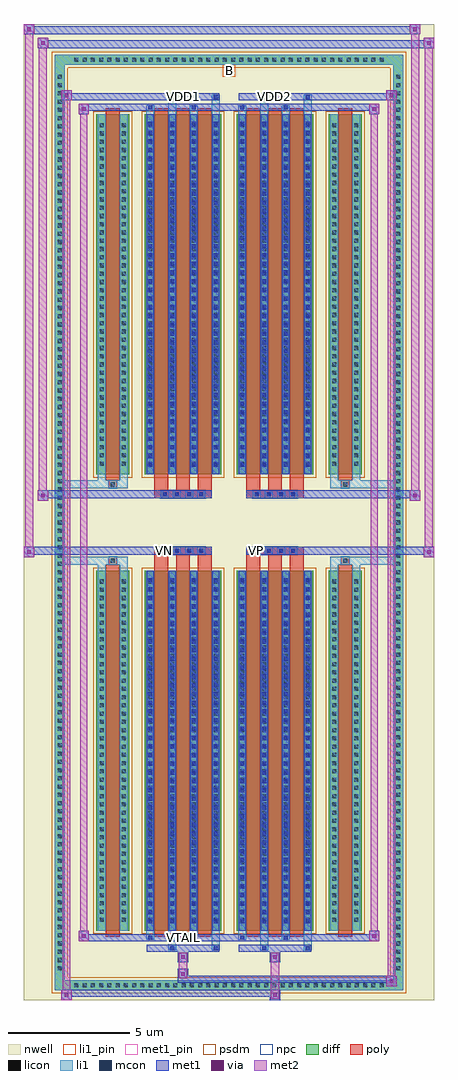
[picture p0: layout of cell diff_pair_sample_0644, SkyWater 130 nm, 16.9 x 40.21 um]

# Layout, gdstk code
import gdstk
lib = gdstk.Library(unit=1e-6, precision=5e-09)
def R(c, l, rs):  # rectangles x0, y0, x1, y1
    for r in rs: c.add(gdstk.rectangle(r[:2], r[2:], *l))
def A(c, l, x, y, w, h, nx, ny, dx, dy):  # array of equal rectangles
    R(c, l, [(x+i*dx, y+j*dy, x+i*dx+w, y+j*dy+h) for i in range(nx) for j in range(ny)])
def P(c, l, *ps):  # polygons
    for p in ps: c.add(gdstk.Polygon(p, *l))
nwell = (64, 20)
diff = (65, 20)
poly = (66, 20)
licon = (66, 44)
li1_pin = (67, 16)
li1 = (67, 20)
mcon = (67, 44)
met1_pin = (68, 16)
met1 = (68, 20)
via = (68, 44)
met2 = (69, 20)
psdm = (94, 20)
npc = (95, 20)

diff_pair_sample_0644 = lib.new_cell('diff_pair_sample_0644')
R(diff_pair_sample_0644, nwell, [(-8.45,-19.67,8.45,20.54), (-5.77,-17.86,-0.01,-0.8), (0.01,-17.86,5.77,-0.8), (-5.77,0.8,-0.01,17.86), (0.01,0.8,5.77,17.86)])
A(diff_pair_sample_0644, diff, -6.495, -19.27, 0.41, 0.41, 38, 2, 0.34, 38.13)
A(diff_pair_sample_0644, diff, -7.18, -18.565, 0.41, 0.41, 1, 109, 0, 0.34)
A(diff_pair_sample_0644, diff, 6.77, -18.565, 0.41, 0.41, 1, 109, 0, 0.34)
R(diff_pair_sample_0644, diff, [(-6.495,-19.27,6.495,-18.86), (-7.18,-18.565,-6.77,18.565), (6.77,-18.565,7.18,18.565), (-5.46,-16.815,-4.11,-1.985), (-3.47,-16.815,-0.32,-1.985), (0.32,-16.815,3.47,-1.985), (4.11,-16.815,5.46,-1.985), (-5.46,1.985,-4.11,16.815), (-3.47,1.985,-0.32,16.815), (0.32,1.985,3.47,16.815), (4.11,1.985,5.46,16.815), (-6.495,18.86,6.495,19.27)])
P(diff_pair_sample_0644, diff, [(7.18,19.27),(-7.18,19.27),(-7.18,-18.86),(-6.77,-18.86),(-6.77,18.86),(6.77,18.86),(6.77,-18.86),(-6.77,-18.86),(-7.18,-18.86),(-7.18,-19.27),(7.18,-19.27)])
A(diff_pair_sample_0644, poly, -3.08, -17.065, 0.57, 15.33, 3, 2, 0.9, 18.8)
A(diff_pair_sample_0644, poly, 0.71, -17.065, 0.57, 15.33, 3, 2, 0.9, 18.8)
A(diff_pair_sample_0644, poly, -3.08, -1.735, 0.57, 0.405, 3, 2, 0.9, 3.065)
A(diff_pair_sample_0644, poly, 0.71, -1.735, 0.57, 0.405, 3, 2, 0.9, 3.065)
A(diff_pair_sample_0644, poly, -2.81, -1.33, 0.33, 0.33, 4, 2, 0.5, 2.33)
A(diff_pair_sample_0644, poly, 0.98, -1.33, 0.33, 0.33, 4, 2, 0.5, 2.33)
R(diff_pair_sample_0644, poly, [(-5.07,-17.065,-4.5,-1.735), (4.5,-17.065,5.07,-1.735), (-4.95,-1.735,-4.62,-1.405), (-4.95,-1.735,-4.62,-1.405), (4.62,-1.735,4.95,-1.405), (4.62,-1.735,4.95,-1.405), (-3.08,-1.33,-0.71,-1), (0.71,-1.33,3.08,-1), (-3.08,1,-0.71,1.33), (0.71,1,3.08,1.33), (-4.95,1.405,-4.62,1.735), (-4.95,1.405,-4.62,1.735), (4.62,1.405,4.95,1.735), (4.62,1.405,4.95,1.735), (-5.07,1.735,-4.5,17.065), (4.5,1.735,5.07,17.065)])
A(diff_pair_sample_0644, licon, -6.375, -19.15, 0.17, 0.17, 38, 2, 0.34, 38.13)
A(diff_pair_sample_0644, licon, -7.06, -18.445, 0.17, 0.17, 1, 109, 0, 0.34)
A(diff_pair_sample_0644, licon, 6.89, -18.445, 0.17, 0.17, 1, 109, 0, 0.34)
A(diff_pair_sample_0644, licon, -5.32, -16.455, 0.17, 0.17, 1, 42, 0, 0.34)
A(diff_pair_sample_0644, licon, -4.42, -16.455, 0.17, 0.17, 1, 42, 0, 0.34)
A(diff_pair_sample_0644, licon, -3.33, -16.455, 0.17, 0.17, 4, 42, 0.9, 0.34)
A(diff_pair_sample_0644, licon, 0.46, -16.455, 0.17, 0.17, 4, 42, 0.9, 0.34)
A(diff_pair_sample_0644, licon, 4.25, -16.455, 0.17, 0.17, 1, 42, 0, 0.34)
A(diff_pair_sample_0644, licon, 5.15, -16.455, 0.17, 0.17, 1, 42, 0, 0.34)
A(diff_pair_sample_0644, licon, -2.73, -1.25, 0.17, 0.17, 4, 2, 0.5, 2.33)
A(diff_pair_sample_0644, licon, 1.06, -1.25, 0.17, 0.17, 4, 2, 0.5, 2.33)
A(diff_pair_sample_0644, licon, -5.32, 2.345, 0.17, 0.17, 1, 42, 0, 0.34)
A(diff_pair_sample_0644, licon, -4.42, 2.345, 0.17, 0.17, 1, 42, 0, 0.34)
A(diff_pair_sample_0644, licon, -3.33, 2.345, 0.17, 0.17, 4, 42, 0.9, 0.34)
A(diff_pair_sample_0644, licon, 0.46, 2.345, 0.17, 0.17, 4, 42, 0.9, 0.34)
A(diff_pair_sample_0644, licon, 4.25, 2.345, 0.17, 0.17, 1, 42, 0, 0.34)
A(diff_pair_sample_0644, licon, 5.15, 2.345, 0.17, 0.17, 1, 42, 0, 0.34)
R(diff_pair_sample_0644, licon, [(-4.87,-1.655,-4.7,-1.485), (4.7,-1.655,4.87,-1.485), (-4.87,1.485,-4.7,1.655), (4.7,1.485,4.87,1.655)])
R(diff_pair_sample_0644, li1_pin, [(-0.25,18.36,0.25,18.86)])
A(diff_pair_sample_0644, li1, -6.455, -19.23, 0.33, 0.33, 38, 2, 0.34, 38.13)
A(diff_pair_sample_0644, li1, -7.14, -18.525, 0.33, 0.33, 1, 109, 0, 0.34)
A(diff_pair_sample_0644, li1, 6.81, -18.525, 0.33, 0.33, 1, 109, 0, 0.34)
A(diff_pair_sample_0644, li1, -3.41, -16.815, 0.33, 14.83, 4, 2, 0.9, 18.8)
A(diff_pair_sample_0644, li1, 0.38, -16.815, 0.33, 14.83, 4, 2, 0.9, 18.8)
A(diff_pair_sample_0644, li1, -5.4, -16.535, 0.33, 0.33, 1, 42, 0, 0.34)
A(diff_pair_sample_0644, li1, -4.5, -16.535, 0.33, 0.33, 1, 42, 0, 0.34)
A(diff_pair_sample_0644, li1, -3.41, -16.535, 0.33, 0.33, 4, 42, 0.9, 0.34)
A(diff_pair_sample_0644, li1, 0.38, -16.535, 0.33, 0.33, 4, 42, 0.9, 0.34)
A(diff_pair_sample_0644, li1, 4.17, -16.535, 0.33, 0.33, 1, 42, 0, 0.34)
A(diff_pair_sample_0644, li1, 5.07, -16.535, 0.33, 0.33, 1, 42, 0, 0.34)
A(diff_pair_sample_0644, li1, -3.33, -16.505, 0.17, 0.17, 4, 40, 0.9, 0.36)
A(diff_pair_sample_0644, li1, -3.33, -16.505, 0.17, 14.21, 4, 2, 0.9, 18.8)
A(diff_pair_sample_0644, li1, 0.46, -16.505, 0.17, 0.17, 4, 40, 0.9, 0.36)
A(diff_pair_sample_0644, li1, 0.46, -16.505, 0.17, 14.21, 4, 2, 0.9, 18.8)
A(diff_pair_sample_0644, li1, -2.81, -1.33, 0.33, 0.33, 4, 2, 0.5, 2.33)
A(diff_pair_sample_0644, li1, 0.98, -1.33, 0.33, 0.33, 4, 2, 0.5, 2.33)
A(diff_pair_sample_0644, li1, -5.4, 2.265, 0.33, 0.33, 1, 42, 0, 0.34)
A(diff_pair_sample_0644, li1, -4.5, 2.265, 0.33, 0.33, 1, 42, 0, 0.34)
A(diff_pair_sample_0644, li1, -3.41, 2.265, 0.33, 0.33, 4, 42, 0.9, 0.34)
A(diff_pair_sample_0644, li1, 0.38, 2.265, 0.33, 0.33, 4, 42, 0.9, 0.34)
A(diff_pair_sample_0644, li1, 4.17, 2.265, 0.33, 0.33, 1, 42, 0, 0.34)
A(diff_pair_sample_0644, li1, 5.07, 2.265, 0.33, 0.33, 1, 42, 0, 0.34)
A(diff_pair_sample_0644, li1, -3.33, 2.295, 0.17, 0.17, 4, 40, 0.9, 0.36)
A(diff_pair_sample_0644, li1, 0.46, 2.295, 0.17, 0.17, 4, 40, 0.9, 0.36)
R(diff_pair_sample_0644, li1, [(-7.18,-19.27,-6.77,-18.86), (-7.18,-19.27,-6.77,-18.86), (-6.77,-19.27,6.77,-18.86), (6.77,-19.27,7.18,-18.86), (6.77,-19.27,7.18,-18.86), (-7.18,-18.86,-6.77,18.86), (6.77,-18.86,7.18,18.86), (-2.51,-17.62,-2.18,-16.815), (-2.43,-17.62,-2.26,-17.45), (-0.71,-17.62,-0.38,-16.815), (-0.63,-17.62,-0.46,-17.45), (1.28,-17.62,1.61,-16.815), (1.36,-17.62,1.53,-17.45), (3.08,-17.62,3.41,-16.815), (3.16,-17.62,3.33,-17.45), (-3.41,-17.19,-3.08,-16.815), (-3.33,-17.19,-3.16,-17.02), (-1.61,-17.19,-1.28,-16.815), (-1.53,-17.19,-1.36,-17.02), (0.38,-17.19,0.71,-16.815), (0.46,-17.19,0.63,-17.02), (2.18,-17.19,2.51,-16.815), (2.26,-17.19,2.43,-17.02), (-5.4,-16.815,-5.07,-1.985), (-4.5,-16.815,-4.17,-1.985), (4.17,-16.815,4.5,-1.985), (5.07,-16.815,5.4,-1.985), (-5.4,-1.985,-5.07,-1.405), (-4.5,-1.985,-4.17,-1.405), (4.17,-1.985,4.5,-1.405), (5.07,-1.985,5.4,-1.405), (-7.18,-1.735,-4.95,-1.405), (-5.4,-1.735,-4.95,-1.405), (-4.95,-1.735,-4.62,-1.405), (-4.62,-1.735,-4.17,-1.405), (4.17,-1.735,4.62,-1.405), (4.62,-1.735,4.95,-1.405), (4.62,-1.735,7.18,-1.405), (4.95,-1.735,5.4,-1.405), (-7.18,1.405,-4.95,1.735), (-5.4,1.405,-4.95,1.735), (-5.4,1.405,-5.07,1.985), (-4.95,1.405,-4.62,1.735), (-4.62,1.405,-4.17,1.735), (-4.5,1.405,-4.17,1.985), (4.17,1.405,4.62,1.735), (4.17,1.405,4.5,1.985), (4.62,1.405,4.95,1.735), (4.62,1.405,7.18,1.735), (4.95,1.405,5.4,1.735), (5.07,1.405,5.4,1.985), (-5.4,1.985,-5.07,16.815), (-4.5,1.985,-4.17,16.815), (4.17,1.985,4.5,16.815), (5.07,1.985,5.4,16.815), (-3.41,16.815,-3.08,17.19), (-2.51,16.815,-2.18,17.62), (-1.61,16.815,-1.28,17.19), (-0.71,16.815,-0.38,17.62), (0.38,16.815,0.71,17.19), (1.28,16.815,1.61,17.62), (2.18,16.815,2.51,17.19), (3.08,16.815,3.41,17.62), (-3.33,17.02,-3.16,17.19), (-1.53,17.02,-1.36,17.19), (0.46,17.02,0.63,17.19), (2.26,17.02,2.43,17.19), (-2.43,17.45,-2.26,17.62), (-0.63,17.45,-0.46,17.62), (1.36,17.45,1.53,17.62), (3.16,17.45,3.33,17.62), (-7.18,18.86,-6.77,19.27), (-7.18,18.86,-6.77,19.27), (-6.77,18.86,6.77,19.27), (6.77,18.86,7.18,19.27), (6.77,18.86,7.18,19.27)])
A(diff_pair_sample_0644, mcon, -3.33, -16.505, 0.17, 0.17, 4, 40, 0.9, 0.36)
A(diff_pair_sample_0644, mcon, 0.46, -16.505, 0.17, 0.17, 4, 40, 0.9, 0.36)
A(diff_pair_sample_0644, mcon, -2.73, -1.25, 0.17, 0.17, 4, 2, 0.5, 2.33)
A(diff_pair_sample_0644, mcon, 1.06, -1.25, 0.17, 0.17, 4, 2, 0.5, 2.33)
A(diff_pair_sample_0644, mcon, -3.33, 2.295, 0.17, 0.17, 4, 40, 0.9, 0.36)
A(diff_pair_sample_0644, mcon, 0.46, 2.295, 0.17, 0.17, 4, 40, 0.9, 0.36)
R(diff_pair_sample_0644, mcon, [(-2.43,-17.62,-2.26,-17.45), (-0.63,-17.62,-0.46,-17.45), (1.36,-17.62,1.53,-17.45), (3.16,-17.62,3.33,-17.45), (-3.33,-17.19,-3.16,-17.02), (-1.53,-17.19,-1.36,-17.02), (0.46,-17.19,0.63,-17.02), (2.26,-17.19,2.43,-17.02), (-3.33,17.02,-3.16,17.19), (-1.53,17.02,-1.36,17.19), (0.46,17.02,0.63,17.19), (2.26,17.02,2.43,17.19), (-2.43,17.45,-2.26,17.62), (-0.63,17.45,-0.46,17.62), (1.36,17.45,1.53,17.62), (3.16,17.45,3.33,17.62)])
R(diff_pair_sample_0644, met1_pin, [(-2.03,-17.23,-1.76,-16.96), (-2.78,-1.29,-2.51,-1.02), (1.01,-1.29,1.28,-1.02), (-2.03,17.41,-1.76,17.68), (1.76,17.41,2.03,17.68)])
A(diff_pair_sample_0644, met1, -3.39, -16.815, 0.29, 14.83, 4, 2, 0.9, 18.8)
A(diff_pair_sample_0644, met1, 0.4, -16.815, 0.29, 14.83, 4, 2, 0.9, 18.8)
A(diff_pair_sample_0644, met1, -3.39, -16.565, 0.29, 0.29, 4, 40, 0.9, 0.36)
A(diff_pair_sample_0644, met1, 0.4, -16.565, 0.29, 0.29, 4, 40, 0.9, 0.36)
A(diff_pair_sample_0644, met1, -2.79, -1.31, 0.29, 0.29, 4, 2, 0.5, 2.33)
A(diff_pair_sample_0644, met1, 1, -1.31, 0.29, 0.29, 4, 2, 0.5, 2.33)
A(diff_pair_sample_0644, met1, -3.39, 2.235, 0.29, 0.29, 4, 40, 0.9, 0.36)
A(diff_pair_sample_0644, met1, 0.4, 2.235, 0.29, 0.29, 4, 40, 0.9, 0.36)
R(diff_pair_sample_0644, met1, [(-6.91,-19.67,-6.48,-19.24), (1.68,-19.67,2.11,-19.24), (-6.91,-19.53,2.11,-19.24), (6.48,-19.1,6.91,-18.67), (-2.11,-18.96,6.91,-18.67), (-2.11,-18.82,-1.68,-18.39), (-2.11,-18.11,-1.68,-17.68), (1.68,-18.11,2.11,-17.68), (-3.39,-17.68,-0.4,-17.39), (-2.49,-17.68,-2.2,-17.39), (-0.69,-17.68,-0.4,-17.39), (0.4,-17.68,3.39,-17.39), (1.3,-17.68,1.59,-17.39), (3.1,-17.68,3.39,-17.39), (-6.2,-17.25,-5.77,-16.82), (-6.2,-17.25,-3.39,-16.96), (-3.39,-17.25,-3.1,-16.96), (-3.39,-17.25,-0.4,-16.96), (-1.59,-17.25,-1.3,-16.96), (-0.4,-17.25,0.4,-16.96), (0.4,-17.25,0.69,-16.96), (0.4,-17.25,3.39,-16.96), (2.2,-17.25,2.49,-16.96), (3.39,-17.25,6.2,-16.96), (5.77,-17.25,6.2,-16.82), (-8.45,-1.43,-8.02,-1), (8.02,-1.43,8.45,-1), (-8.45,-1.33,-0.71,-1), (-3.08,-1.33,-0.71,-1), (0.71,-1.33,3.08,-1), (0.71,-1.33,8.45,-1), (-7.88,0.9,-7.45,1.33), (7.45,0.9,7.88,1.33), (-7.88,1,-3.08,1.33), (-3.08,1,-0.71,1.33), (0.71,1,3.08,1.33), (3.08,1,7.88,1.33), (-6.2,16.82,-5.77,17.25), (5.77,16.82,6.2,17.25), (-6.2,16.96,-3.39,17.25), (-3.39,16.96,-3.1,17.25), (-3.39,16.96,-0.4,17.25), (-1.59,16.96,-1.3,17.25), (-0.4,16.96,0.4,17.25), (0.4,16.96,0.69,17.25), (0.4,16.96,3.39,17.25), (2.2,16.96,2.49,17.25), (3.39,16.96,6.2,17.25), (-6.91,17.39,-6.48,17.82), (-6.91,17.39,-3.39,17.68), (-3.39,17.39,-0.4,17.68), (-2.49,17.39,-2.2,17.68), (-0.69,17.39,-0.4,17.68), (0.4,17.39,3.39,17.68), (1.3,17.39,1.59,17.68), (3.1,17.39,3.39,17.68), (3.39,17.39,6.91,17.68), (6.48,17.39,6.91,17.82), (-7.88,19.54,-7.45,19.97), (-7.88,19.54,-5.77,19.87), (-5.77,19.54,5.77,19.87), (5.77,19.54,8.45,19.87), (8.02,19.54,8.45,19.97), (-8.45,20.11,-8.02,20.54), (-8.45,20.11,-5.77,20.44), (-5.77,20.11,5.77,20.44), (5.77,20.11,7.88,20.44), (7.45,20.11,7.88,20.54)])
R(diff_pair_sample_0644, via, [(-6.77,-19.53,-6.62,-19.38), (1.82,-19.53,1.97,-19.38), (6.62,-18.96,6.77,-18.81), (-1.97,-18.68,-1.82,-18.53), (-1.97,-17.97,-1.82,-17.82), (1.82,-17.97,1.97,-17.82), (-6.06,-17.11,-5.91,-16.96), (5.91,-17.11,6.06,-16.96), (-8.31,-1.29,-8.16,-1.14), (8.16,-1.29,8.31,-1.14), (-7.74,1.04,-7.59,1.19), (7.59,1.04,7.74,1.19), (-6.06,16.96,-5.91,17.11), (5.91,16.96,6.06,17.11), (-6.77,17.53,-6.62,17.68), (6.62,17.53,6.77,17.68), (-7.74,19.68,-7.59,19.83), (8.16,19.68,8.31,19.83), (-8.31,20.25,-8.16,20.4), (7.59,20.25,7.74,20.4)])
R(diff_pair_sample_0644, met2, [(-6.91,-19.67,-6.48,-19.24), (-6.84,-19.67,-6.55,17.82), (-6.55,-19.67,-6.48,-19.24), (-6.86,-19.62,-6.53,-19.29), (1.73,-19.62,2.06,-19.29), (1.73,-19.29,2.06,-18.06), (6.48,-19.1,6.91,-18.67), (6.55,-19.1,6.84,17.82), (6.84,-19.1,6.91,-18.67), (6.53,-19.05,6.86,-18.72), (-2.06,-18.77,-1.73,-18.44), (-2.06,-18.44,-1.73,-18.06), (-2.06,-18.06,-1.73,-17.73), (1.73,-18.06,2.06,-17.73), (-6.2,-17.25,-5.77,-16.82), (-6.13,-17.25,-5.84,17.25), (-5.84,-17.25,-5.77,-16.82), (5.77,-17.25,6.2,-16.82), (5.84,-17.25,6.13,17.25), (6.13,-17.25,6.2,-16.82), (-6.15,-17.2,-5.82,-16.87), (5.82,-17.2,6.15,-16.87), (-8.45,-1.43,-8.02,-1), (-8.4,-1.43,-8.07,20.54), (-8.07,-1.43,-8.02,-1), (8.02,-1.43,8.45,-1), (8.07,-1.43,8.4,19.97), (8.4,-1.43,8.45,-1), (-8.4,-1.38,-8.07,-1.05), (8.07,-1.38,8.4,-1.05), (-7.88,0.9,-7.45,1.33), (-7.83,0.9,-7.5,19.97), (-7.5,0.9,-7.45,1.33), (7.45,0.9,7.88,1.33), (7.5,0.9,7.83,20.54), (7.83,0.9,7.88,1.33), (-7.83,0.95,-7.5,1.28), (7.5,0.95,7.83,1.28), (-6.2,16.82,-5.77,17.25), (-5.84,16.82,-5.77,17.25), (5.77,16.82,6.2,17.25), (6.13,16.82,6.2,17.25), (-6.15,16.87,-5.82,17.2), (5.82,16.87,6.15,17.2), (-6.91,17.39,-6.48,17.82), (-6.55,17.39,-6.48,17.82), (6.48,17.39,6.91,17.82), (6.84,17.39,6.91,17.82), (-6.86,17.44,-6.53,17.77), (6.53,17.44,6.86,17.77), (-7.88,19.54,-7.45,19.97), (-7.5,19.54,-7.45,19.97), (8.02,19.54,8.45,19.97), (8.4,19.54,8.45,19.97), (-7.83,19.59,-7.5,19.92), (8.07,19.59,8.4,19.92), (-8.45,20.11,-8.02,20.54), (-8.07,20.11,-8.02,20.54), (7.45,20.11,7.88,20.54), (7.83,20.11,7.88,20.54), (-8.4,20.16,-8.07,20.49), (7.5,20.16,7.83,20.49)])
R(diff_pair_sample_0644, psdm, [(-5.59,-16.945,-3.98,-1.855), (-3.6,-16.945,-0.19,-1.855), (0.19,-16.945,3.6,-1.855), (3.98,-16.945,5.59,-1.855), (-5.59,1.855,-3.98,16.945), (-3.6,1.855,-0.19,16.945), (0.19,1.855,3.6,16.945), (3.98,1.855,5.59,16.945)])
P(diff_pair_sample_0644, psdm, [(7.31,19.4),(-7.31,19.4),(-7.31,-18.73),(-6.64,-18.73),(-6.64,18.73),(6.64,18.73),(6.64,-18.73),(-6.64,-18.73),(-7.31,-18.73),(-7.31,-19.4),(7.31,-19.4)])
A(diff_pair_sample_0644, npc, -2.83, -1.35, 0.37, 0.37, 4, 2, 0.5, 2.33)
A(diff_pair_sample_0644, npc, 0.96, -1.35, 0.37, 0.37, 4, 2, 0.5, 2.33)
R(diff_pair_sample_0644, npc, [(-4.97,-1.755,-4.6,-1.385), (4.6,-1.755,4.97,-1.385), (-2.83,-1.35,-1.96,-0.98), (-2.83,-1.35,-1.96,-0.98), (-2.33,-1.35,-1.46,-0.98), (-2.33,-1.35,-1.46,-0.98), (-1.83,-1.35,-0.96,-0.98), (-1.83,-1.35,-0.96,-0.98), (0.96,-1.35,1.83,-0.98), (0.96,-1.35,1.83,-0.98), (1.46,-1.35,2.33,-0.98), (1.46,-1.35,2.33,-0.98), (1.96,-1.35,2.83,-0.98), (1.96,-1.35,2.83,-0.98), (-2.83,0.98,-1.96,1.35), (-2.83,0.98,-1.96,1.35), (-2.33,0.98,-1.46,1.35), (-2.33,0.98,-1.46,1.35), (-1.83,0.98,-0.96,1.35), (-1.83,0.98,-0.96,1.35), (0.96,0.98,1.83,1.35), (0.96,0.98,1.83,1.35), (1.46,0.98,2.33,1.35), (1.46,0.98,2.33,1.35), (1.96,0.98,2.83,1.35), (1.96,0.98,2.83,1.35), (-4.97,1.385,-4.6,1.755), (4.6,1.385,4.97,1.755)])
diff_pair_sample_0644.add(gdstk.Label('VTAIL', (-1.895,-17.095), layer=68, texttype=5))
diff_pair_sample_0644.add(gdstk.Label('VN', (-2.645,-1.155), layer=68, texttype=5))
diff_pair_sample_0644.add(gdstk.Label('VP', (1.145,-1.155), layer=68, texttype=5))
diff_pair_sample_0644.add(gdstk.Label('B', (0,18.61), layer=67, texttype=5))
diff_pair_sample_0644.add(gdstk.Label('VDD2', (1.895,17.545), layer=68, texttype=5))
diff_pair_sample_0644.add(gdstk.Label('VDD1', (-1.895,17.545), layer=68, texttype=5))

lib.write_gds('diff_pair_sample_0644.gds')
